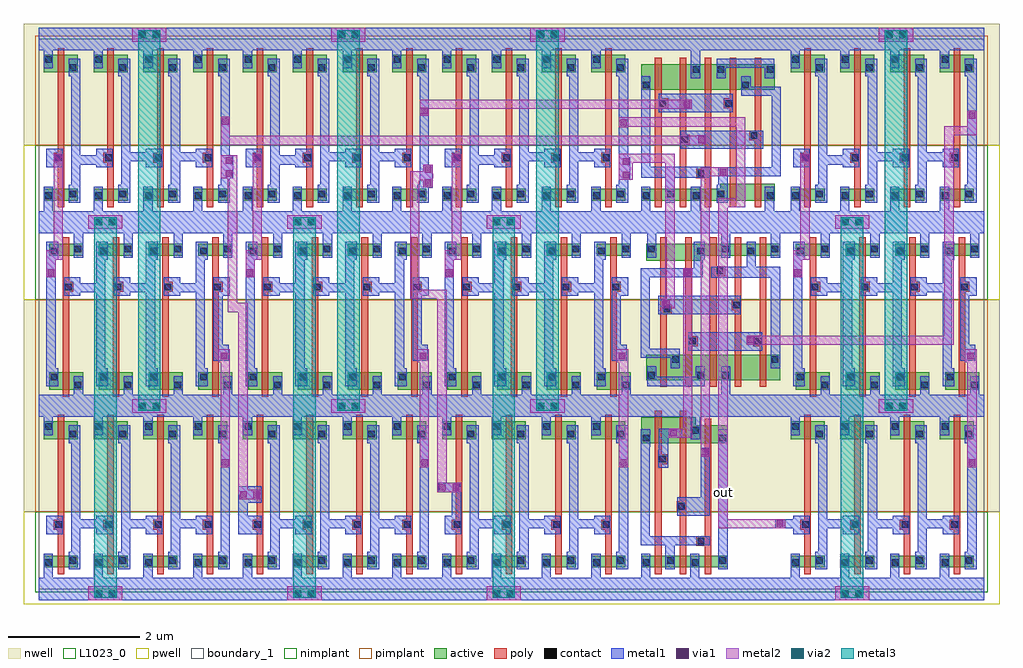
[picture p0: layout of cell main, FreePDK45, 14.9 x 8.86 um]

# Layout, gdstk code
from math import pi, radians
import gdstk
lib = gdstk.Library(unit=1e-6, precision=1e-09)
def R(c, l, rs):  # rectangles x0, y0, x1, y1
    for r in rs: c.add(gdstk.rectangle(r[:2], r[2:], *l))
def P(c, l, *ps):  # polygons
    for p in ps: c.add(gdstk.Polygon(p, *l))
active = (1, 0)
pwell = (2, 0)
nwell = (3, 0)
nimplant = (4, 0)
pimplant = (5, 0)
poly = (9, 0)
contact = (10, 0)
metal1 = (11, 0)
via1 = (12, 0)
metal2 = (13, 0)
via2 = (14, 0)
metal3 = (15, 0)
boundary_1 = (235, 1)
L1023_0 = (1023, 0)

inv_x1 = lib.new_cell('INV_X1')
R(inv_x1, active, [(0.08,0.33,0.6,0.51), (0.08,2.29,0.6,2.56)])
R(inv_x1, pwell, [(-0.23,-0.23,0.99,1.18)])
R(inv_x1, nwell, [(-0.23,1.18,0.99,3.03)])
R(inv_x1, nimplant, [(-0.05,-0.05,0.81,1.18)])
R(inv_x1, pimplant, [(-0.05,1.18,0.81,2.85)])
P(inv_x1, poly, [(0.23,0.91),(0.29,0.91),(0.29,0.23),(0.39,0.23),(0.39,2.66),(0.29,2.66),(0.29,1.06),(0.23,1.06)])
R(inv_x1, contact, [(0.105,0.355,0.205,0.455), (0.475,0.385,0.575,0.485), (0.255,0.935,0.355,1.035), (0.475,2.315,0.575,2.415), (0.105,2.435,0.205,2.535)])
R(inv_x1, metal1, [(0.12,0.84,0.37,1.12), (0.12,0.84,0.37,1.12)])
P(inv_x1, metal1, [(0.46,2.23),(0.5,2.23),(0.5,0.57),(0.46,0.57),(0.46,0.3),(0.64,0.3),(0.64,2.5),(0.46,2.5)],
  [(0,-0.17),(0.76,-0.17),(0.76,0.17),(0.22,0.17),(0.22,0.54),(0.08,0.54),(0.08,0.17),(0,0.17)],
  [(0,2.63),(0.08,2.63),(0.08,2.35),(0.22,2.35),(0.22,2.63),(0.76,2.63),(0.76,2.97),(0,2.97)],
  [(0,2.63),(0.08,2.63),(0.08,2.35),(0.22,2.35),(0.22,2.63),(0.76,2.63),(0.76,2.97),(0,2.97)],
  [(0,-0.17),(0.76,-0.17),(0.76,0.17),(0.22,0.17),(0.22,0.54),(0.08,0.54),(0.08,0.17),(0,0.17)],
  [(0.46,2.23),(0.5,2.23),(0.5,0.57),(0.46,0.57),(0.46,0.3),(0.64,0.3),(0.64,2.5),(0.46,2.5)])
R(inv_x1, boundary_1, [(0,0,0.76,2.8)])
inv_x1.add(gdstk.Label('ZN', (0.57,1.26), layer=11, texttype=0))
inv_x1.add(gdstk.Label('VSS', (0.38,-0.16), layer=11, texttype=0))
inv_x1.add(gdstk.Label('VDD', (0.38,2.66), layer=11, texttype=0))
inv_x1.add(gdstk.Label('A', (0.19,0.98), layer=11, texttype=0))

delay = lib.new_cell('delay')
R(delay, metal1, [(0.76,-0.17,1.28,0.04), (2.78,1.83,2.92,2.03), (1.43,2.69,1.95,2.9), (2.67,3.49,2.9,3.73), (2.76,3.49,2.9,3.63), (0.12,4.76,0.26,4.9), (0.76,5.5,1.28,5.71), (0.23,6.51,0.37,6.65), (1.43,8.36,1.95,8.57)])
R(delay, via1, [(0.87,-0.115,0.97,-0.015), (1.07,-0.115,1.17,-0.015), (2.8,1.88,2.9,1.98), (1.54,2.745,1.64,2.845), (1.74,2.745,1.84,2.845), (2.78,3.51,2.88,3.61), (0.14,4.78,0.24,4.88), (0.87,5.555,0.97,5.655), (1.07,5.555,1.17,5.655), (0.25,6.53,0.35,6.63), (1.54,8.415,1.64,8.515), (1.74,8.415,1.84,8.515)])
R(delay, metal2, [(0.76,-0.17,1.28,0.04), (0.85,-0.135,1.19,0.005), (2.78,1.86,2.92,2), (1.43,2.69,1.95,2.9), (1.52,2.725,1.86,2.865), (2.74,3.46,2.92,3.66), (0.12,4.76,0.26,4.9), (0.76,5.5,1.28,5.71), (0.85,5.535,1.19,5.675), (0.23,6.51,0.37,6.65), (1.43,8.36,1.95,8.57), (1.52,8.395,1.86,8.535)])
R(delay, via2, [(0.87,-0.115,0.97,-0.015), (1.07,-0.115,1.17,-0.015), (1.54,2.745,1.64,2.845), (1.74,2.745,1.84,2.845), (0.87,5.555,0.97,5.655), (1.07,5.555,1.17,5.655), (1.54,8.415,1.64,8.515), (1.74,8.415,1.84,8.515)])
R(delay, metal3, [(0.85,-0.135,1.19,0.005), (0.85,-0.09,1.19,5.66), (1.52,2.725,1.86,2.865), (1.52,2.77,1.86,8.52), (0.85,5.535,1.19,5.675), (1.52,8.395,1.86,8.535)])
delay.add(gdstk.FlexPath([(0.3,6.58),(0.3,5.1),(0.19,5.1),(0.19,4.86)], 0.14, ends="flush", simple_path=True, layer=13, datatype=0))  # metal2
delay.add(gdstk.FlexPath([(0.95,4.6),(0.55,4.6)], 0.14, ends="flush", simple_path=True, layer=11, datatype=0))  # metal1
delay.add(gdstk.FlexPath([(1.7,4.6),(1.3,4.6)], 0.14, ends="flush", simple_path=True, layer=11, datatype=0))  # metal1
delay.add(gdstk.FlexPath([(2.45,4.6),(2.1,4.6)], 0.14, ends="flush", simple_path=True, layer=11, datatype=0))  # metal1
delay.add(gdstk.FlexPath([(2.74,3.56),(2.74,4.55)], 0.14, ends="flush", simple_path=True, layer=11, datatype=0))  # metal1
delay.add(gdstk.FlexPath([(2.85,1.93),(2.85,3.53)], 0.14, ends="flush", simple_path=True, layer=13, datatype=0))  # metal2
delay.add(gdstk.FlexPath([(2.1,1),(2.45,1)], 0.14, ends="flush", simple_path=True, layer=11, datatype=0))  # metal1
delay.add(gdstk.FlexPath([(1.35,1),(1.65,1)], 0.14, ends="flush", simple_path=True, layer=11, datatype=0))  # metal1
delay.add(gdstk.FlexPath([(0.6,1),(0.9,1)], 0.14, ends="flush", simple_path=True, layer=11, datatype=0))  # metal1
delay.add(gdstk.FlexPath([(0.55,6.55),(0.95,6.55)], 0.14, ends="flush", simple_path=True, layer=11, datatype=0))  # metal1
delay.add(gdstk.FlexPath([(1.35,6.6),(1.7,6.6)], 0.14, ends="flush", simple_path=True, layer=11, datatype=0))  # metal1
delay.add(gdstk.FlexPath([(2.1,6.6),(2.5,6.6)], 0.14, ends="flush", simple_path=True, layer=11, datatype=0))  # metal1
delay.add(gdstk.Reference(inv_x1, (2.28,5.6)))
delay.add(gdstk.Reference(inv_x1, (1.52,5.6)))
delay.add(gdstk.Reference(inv_x1, (0.76,5.6)))
delay.add(gdstk.Reference(inv_x1, (0,5.6)))
delay.add(gdstk.Reference(inv_x1, (0.76,5.6), rotation=pi))
delay.add(gdstk.Reference(inv_x1, (1.52,5.6), rotation=pi))
delay.add(gdstk.Reference(inv_x1, (2.28,5.6), rotation=pi))
delay.add(gdstk.Reference(inv_x1, (3.04,5.6), rotation=pi))
delay.add(gdstk.Reference(inv_x1, (2.28,0)))
delay.add(gdstk.Reference(inv_x1, (1.52,0)))
delay.add(gdstk.Reference(inv_x1, (0.76,0)))
delay.add(gdstk.Reference(inv_x1, (0,0)))
delay.add(gdstk.Label('VSS', (0.5,5.6), layer=11, texttype=0))
delay.add(gdstk.Label('VDD', (1.68,2.85), layer=11, texttype=0))
delay.add(gdstk.Label('out', (2.9,7.1), layer=11, texttype=0))
delay.add(gdstk.Label('in', (0.2,1.05), layer=11, texttype=0))

xor2_x1 = lib.new_cell('XOR2_X1')
R(xor2_x1, active, [(0.08,2.02,2.12,2.41)])
P(xor2_x1, active, [(0.08,0.33),(2.12,0.33),(2.12,0.59),(1.29,0.59),(1.29,0.51),(0.08,0.51)])
R(xor2_x1, pwell, [(-0.23,-0.23,2.51,1.18)])
R(xor2_x1, nwell, [(-0.23,1.18,2.51,3.03)])
R(xor2_x1, nimplant, [(-0.05,-0.05,2.33,1.18)])
R(xor2_x1, pimplant, [(-0.05,1.18,2.33,2.85)])
P(xor2_x1, poly, [(1.73,1.25),(1.81,1.25),(1.81,0.23),(1.91,0.23),(1.91,2.51),(1.81,2.51),(1.81,1.4),(1.73,1.4)],
  [(1.34,1.74),(1.43,1.74),(1.43,0.23),(1.53,0.23),(1.53,2.51),(1.43,2.51),(1.43,1.89),(1.34,1.89)],
  [(0.92,0.67),(1.05,0.67),(1.05,0.23),(1.15,0.23),(1.15,2.51),(1.05,2.51),(1.05,0.82),(0.92,0.82)],
  [(0.67,0.23),(0.77,0.23),(0.77,1.19),(0.82,1.19),(0.82,1.34),(0.77,1.34),(0.77,2.51),(0.67,2.51)],
  [(0.29,0.23),(0.39,0.23),(0.39,1.74),(0.49,1.74),(0.49,1.89),(0.39,1.89),(0.39,2.51),(0.29,2.51)])
R(xor2_x1, contact, [(0.105,0.355,0.205,0.455), (0.865,0.355,0.965,0.455), (1.995,0.355,2.095,0.455), (0.475,0.385,0.575,0.485), (1.245,0.385,1.345,0.485), (0.945,0.695,1.045,0.795), (0.695,1.215,0.795,1.315), (1.755,1.275,1.855,1.375), (0.365,1.765,0.465,1.865), (1.365,1.765,1.465,1.865), (0.105,2.045,0.205,2.145), (1.625,2.045,1.725,2.145), (0.865,2.285,0.965,2.385), (1.245,2.285,1.345,2.385), (1.995,2.285,2.095,2.385)])
R(xor2_x1, metal1, [(0.68,1.12,1.94,1.4), (0.68,1.12,1.94,1.4), (0.35,1.68,1.48,1.96), (0.35,1.68,1.48,1.96)])
P(xor2_x1, metal1, [(0,-0.17),(2.28,-0.17),(2.28,0.17),(2.11,0.17),(2.11,0.54),(1.97,0.54),(1.97,0.17),(0.98,0.17),(0.98,0.54),(0.84,0.54),(0.84,0.17),(0.22,0.17),(0.22,0.54),(0.08,0.54),(0.08,0.17),(0,0.17)],
  [(0,2.63),(0.84,2.63),(0.84,2.2),(0.98,2.2),(0.98,2.63),(2.28,2.63),(2.28,2.97),(0,2.97)],
  [(1.61,1.93),(2.07,1.93),(2.07,0.84),(1.26,0.84),(1.26,0.57),(1.23,0.57),(1.23,0.3),(1.4,0.3),(1.4,0.7),(2.21,0.7),(2.21,2.07),(1.75,2.07),(1.75,2.23),(1.61,2.23)],
  [(0,2.63),(0.84,2.63),(0.84,2.2),(0.98,2.2),(0.98,2.63),(2.28,2.63),(2.28,2.97),(0,2.97)],
  [(0,-0.17),(2.28,-0.17),(2.28,0.17),(2.11,0.17),(2.11,0.54),(1.97,0.54),(1.97,0.17),(0.98,0.17),(0.98,0.54),(0.84,0.54),(0.84,0.17),(0.22,0.17),(0.22,0.54),(0.08,0.54),(0.08,0.17),(0,0.17)],
  [(1.61,1.93),(2.07,1.93),(2.07,0.84),(1.26,0.84),(1.26,0.57),(1.23,0.57),(1.23,0.3),(1.4,0.3),(1.4,0.7),(2.21,0.7),(2.21,2.07),(1.75,2.07),(1.75,2.23),(1.61,2.23)],
  [(1.23,2.2),(1.37,2.2),(1.37,2.36),(1.97,2.36),(1.97,2.2),(2.11,2.2),(2.11,2.5),(1.23,2.5)],
  [(0.08,0.68),(0.45,0.68),(0.45,0.3),(0.59,0.3),(0.59,0.68),(1.13,0.68),(1.13,0.85),(0.22,0.85),(0.22,2.23),(0.08,2.23)])
R(xor2_x1, boundary_1, [(0,0,2.28,2.8)])
xor2_x1.add(gdstk.Label('Z', (1.33,0.7), layer=11, texttype=0))
xor2_x1.add(gdstk.Label('VSS', (1.14,-0.16), layer=11, texttype=0))
xor2_x1.add(gdstk.Label('VDD', (0.42,2.64), layer=11, texttype=0))
xor2_x1.add(gdstk.Label('B', (1.33,1.26), layer=11, texttype=0))
xor2_x1.add(gdstk.Label('A', (0.95,1.82), layer=11, texttype=0))

or2_x1 = lib.new_cell('OR2_X1')
R(or2_x1, active, [(0.08,0.33,1.4,0.51)])
P(or2_x1, active, [(0.08,2.23),(1.4,2.23),(1.4,2.5),(0.91,2.5),(0.91,2.62),(0.08,2.62)])
R(or2_x1, pwell, [(-0.23,-0.23,1.75,1.18)])
R(or2_x1, nwell, [(-0.23,1.18,1.75,3.03)])
R(or2_x1, nimplant, [(-0.05,-0.05,1.57,1.18)])
R(or2_x1, pimplant, [(-0.05,1.18,1.57,2.85)])
P(or2_x1, poly, [(0.92,0.66),(1.05,0.66),(1.05,0.23),(1.15,0.23),(1.15,2.6),(1.05,2.6),(1.05,0.81),(0.92,0.81)],
  [(0.62,1.19),(0.67,1.19),(0.67,0.23),(0.77,0.23),(0.77,2.72),(0.67,2.72),(0.67,1.34),(0.62,1.34)],
  [(0.29,0.23),(0.39,0.23),(0.39,1.91),(0.48,1.91),(0.48,2.06),(0.39,2.06),(0.39,2.72),(0.29,2.72)])
R(or2_x1, contact, [(0.105,0.355,0.205,0.455), (0.855,0.355,0.955,0.455), (0.475,0.385,0.575,0.485), (1.275,0.385,1.375,0.485), (0.945,0.685,1.045,0.785), (0.645,1.215,0.745,1.315), (0.355,1.935,0.455,2.035), (0.105,2.255,0.205,2.355), (1.275,2.255,1.375,2.355), (0.855,2.375,0.955,2.475)])
R(or2_x1, metal1, [(1.26,0.3,1.4,2.44), (1.26,0.3,1.4,2.44), (0.63,1.12,1.02,1.4), (0.63,1.12,1.02,1.4)])
P(or2_x1, metal1, [(0,-0.17),(1.52,-0.17),(1.52,0.17),(0.97,0.17),(0.97,0.54),(0.83,0.54),(0.83,0.17),(0.22,0.17),(0.22,0.54),(0.08,0.54),(0.08,0.17),(0,0.17)],
  [(0.34,1.85),(0.49,1.85),(0.49,2.31),(0.71,2.31),(0.71,2.45),(0.35,2.45),(0.35,2.12),(0.34,2.12)],
  [(0,2.63),(0.84,2.63),(0.84,2.29),(0.98,2.29),(0.98,2.63),(1.52,2.63),(1.52,2.97),(0,2.97)],
  [(0,2.63),(0.84,2.63),(0.84,2.29),(0.98,2.29),(0.98,2.63),(1.52,2.63),(1.52,2.97),(0,2.97)],
  [(0,-0.17),(1.52,-0.17),(1.52,0.17),(0.97,0.17),(0.97,0.54),(0.83,0.54),(0.83,0.17),(0.22,0.17),(0.22,0.54),(0.08,0.54),(0.08,0.17),(0,0.17)],
  [(0.07,0.67),(0.45,0.67),(0.45,0.3),(0.59,0.3),(0.59,0.67),(1.13,0.67),(1.13,0.81),(0.21,0.81),(0.21,2.17),(0.22,2.17),(0.22,2.44),(0.07,2.44)],
  [(0.34,1.85),(0.49,1.85),(0.49,2.31),(0.71,2.31),(0.71,2.45),(0.35,2.45),(0.35,2.12),(0.34,2.12)])
R(or2_x1, boundary_1, [(0,0,1.52,2.8)])
or2_x1.add(gdstk.Label('ZN', (1.33,1.26), layer=11, texttype=0))
or2_x1.add(gdstk.Label('VSS', (0.76,-0.16), layer=11, texttype=0))
or2_x1.add(gdstk.Label('VDD', (0.42,2.64), layer=11, texttype=0))
or2_x1.add(gdstk.Label('A2', (0.95,1.26), layer=11, texttype=0))
or2_x1.add(gdstk.Label('A1', (0.57,2.38), layer=11, texttype=0))

fillcell_x1 = lib.new_cell('FILLCELL_X1')
R(fillcell_x1, pwell, [(-0.23,-0.23,0.61,1.18)])
R(fillcell_x1, nwell, [(-0.23,1.18,0.61,3.03)])
R(fillcell_x1, nimplant, [(-0.05,-0.05,0.43,1.18)])
R(fillcell_x1, pimplant, [(-0.05,1.18,0.43,2.85)])
R(fillcell_x1, metal1, [(0,-0.17,0.38,0.17), (0,-0.17,0.38,0.17), (0,2.63,0.38,2.97), (0,2.63,0.38,2.97)])
R(fillcell_x1, boundary_1, [(0,0,0.38,2.8)])
fillcell_x1.add(gdstk.Label('VSS', (0.19,0), layer=11, texttype=0))
fillcell_x1.add(gdstk.Label('VDD', (0.19,2.8), layer=11, texttype=0))

main = lib.new_cell('main')
R(main, metal1, [(11.25,0.93,11.39,1.07), (3.05,1.32,3.41,1.57), (6.1,1.48,6.44,1.62), (10.11,2.02,10.25,2.16), (9.62,2.31,9.76,2.45), (10.81,3.73,10.95,3.87), (9.46,4.29,9.71,4.43), (9.84,4.76,9.98,4.9), (5.82,6.13,6.015,6.48), (8.895,6.255,9.035,6.595), (2.835,6.275,2.975,6.615), (10.38,6.3,10.52,6.44), (10.05,6.79,10.19,6.93), (8.86,7.05,9,7.2), (2.78,7.07,2.92,7.21), (14.18,7.16,14.32,7.3), (5.82,7.23,5.96,7.37), (9.83,7.33,9.97,7.47)])
R(main, via1, [(11.27,0.95,11.37,1.05), (3.08,1.395,3.18,1.495), (3.28,1.395,3.38,1.495), (6.12,1.5,6.22,1.6), (6.32,1.5,6.42,1.6), (10.13,2.04,10.23,2.14), (9.64,2.33,9.74,2.43), (10.83,3.75,10.93,3.85), (9.535,4.31,9.635,4.41), (9.86,4.78,9.96,4.88), (5.895,6.155,5.995,6.255), (8.915,6.275,9.015,6.375), (2.855,6.295,2.955,6.395), (10.4,6.32,10.5,6.42), (5.895,6.355,5.995,6.455), (8.915,6.475,9.015,6.575), (2.855,6.495,2.955,6.595), (10.07,6.81,10.17,6.91), (8.88,7.075,8.98,7.175), (2.8,7.09,2.9,7.19), (14.2,7.18,14.3,7.28), (5.84,7.25,5.94,7.35), (9.85,7.35,9.95,7.45)])
R(main, metal2, [(11.25,0.93,11.39,1.07), (3.06,1.375,3.4,1.515), (6.09,1.48,6.45,1.62), (10.11,2.02,10.25,2.16), (9.62,2.31,9.76,2.45), (10.81,3.73,10.95,3.87), (9.515,4.29,9.655,4.43), (9.84,4.76,9.98,4.9), (5.875,6.135,6.015,6.475), (8.86,6.25,9.07,6.6), (2.78,6.27,3.03,6.62), (10.38,6.3,10.52,6.44), (10.05,6.79,10.19,6.93), (8.86,7.05,9,7.2), (8.86,7.055,9,7.195), (2.78,7.07,2.92,7.21), (14.18,7.16,14.32,7.3), (5.82,7.23,5.96,7.37), (9.83,7.33,9.97,7.47)])
main.add(gdstk.FlexPath([(6.16,1.56),(6.16,4.5),(5.745,4.5),(5.745,6.31),(5.93,6.31)], 0.14, ends="flush", simple_path=True, layer=13, datatype=0))  # metal2
main.add(gdstk.FlexPath([(6.38,1.55),(6.38,1.05)], 0.14, ends="flush", simple_path=True, layer=11, datatype=0))  # metal1
main.add(gdstk.FlexPath([(5.945,6.305),(6.025,6.305),(6.015,6.305)], 0.14, ends="flush", simple_path=True, layer=13, datatype=0))  # metal2
main.add(gdstk.FlexPath([(11.32,1),(11.6,1)], 0.14, ends="flush", simple_path=True, layer=11, datatype=0))  # metal1
main.add(gdstk.FlexPath([(10.72,6.1),(10.72,5.9),(10.45,5.9),(10.45,1),(11.4,1)], 0.14, ends="flush", simple_path=True, layer=13, datatype=0))  # metal2
main.add(gdstk.FlexPath([(9.91,4.83),(9.91,2.31)], 0.14, ends="flush", simple_path=True, layer=13, datatype=0))  # metal2
main.add(gdstk.FlexPath([(9.95,4.83),(9.97,4.83)], 0.14, ends="flush", simple_path=True, layer=1023, datatype=0))  # L1023_0
main.add(gdstk.FlexPath([(10.18,1.12),(10.18,2.1),(10.18,2.14)], 0.14, ends="flush", simple_path=True, layer=11, datatype=0))  # metal1
main.add(gdstk.FlexPath([(10.18,2.09),(10.18,6.37),(10.46,6.37)], 0.14, ends="flush", simple_path=True, layer=13, datatype=0))  # metal2
main.add(gdstk.FlexPath([(9.7,2.38),(9.88,2.38)], 0.14, ends="flush", simple_path=True, layer=13, datatype=0))  # metal2
main.add(gdstk.FlexPath([(9.72,2.38),(9.94,2.38)], 0.14, ends="flush", simple_path=True, layer=13, datatype=0))  # metal2
main.add(gdstk.FlexPath([(9.9,7.4),(5.89,7.4),(5.89,7.3)], 0.14, ends="flush", simple_path=True, layer=13, datatype=0))  # metal2
main.add(gdstk.FlexPath([(10.88,3.8),(13.9,3.8),(13.9,7),(14.25,7),(14.25,7.23)], 0.14, ends="flush", simple_path=True, layer=13, datatype=0))  # metal2
main.add(gdstk.FlexPath([(10.12,6.85),(2.85,6.85),(2.85,7.14)], 0.14, ends="flush", simple_path=True, layer=13, datatype=0))  # metal2
main.add(gdstk.FlexPath([(8.93,7.13),(10.72,7.13),(10.72,6.1)], 0.14, ends="flush", simple_path=True, layer=13, datatype=0))  # metal2
main.add(gdstk.FlexPath([(3.12,0.84),(3.12,1.5)], 0.14, ends="flush", simple_path=True, layer=11, datatype=0))  # metal1
main.add(gdstk.FlexPath([(3.12,1.445),(3.12,4.3),(2.96,4.3),(2.96,6.45),(2.85,6.45),(2.85,6.46)], 0.14, ends="flush", simple_path=True, layer=13, datatype=0))  # metal2
main.add(gdstk.FlexPath([(9.64,4.29),(9.64,6.58),(8.93,6.58),(8.93,6.45)], 0.14, ends="flush", simple_path=True, layer=13, datatype=0))  # metal2
main.add(gdstk.Reference(delay, (0,0)))
main.add(gdstk.Reference(delay, (3.04,0)))
main.add(gdstk.Reference(delay, (6.08,0)))
main.add(gdstk.Reference(xor2_x1, (9.12,5.6)))
main.add(gdstk.Reference(xor2_x1, (11.4,5.6), rotation=pi))
main.add(gdstk.Reference(delay, (11.4,0)))
main.add(gdstk.Reference(or2_x1, (9.12,0)))
main.add(gdstk.Reference(fillcell_x1, (10.64,0)))
main.add(gdstk.Reference(fillcell_x1, (11.02,0)))
main.add(gdstk.Label('out', (10.46,1.48), layer=11, texttype=0))

lib.write_gds('main.gds')
